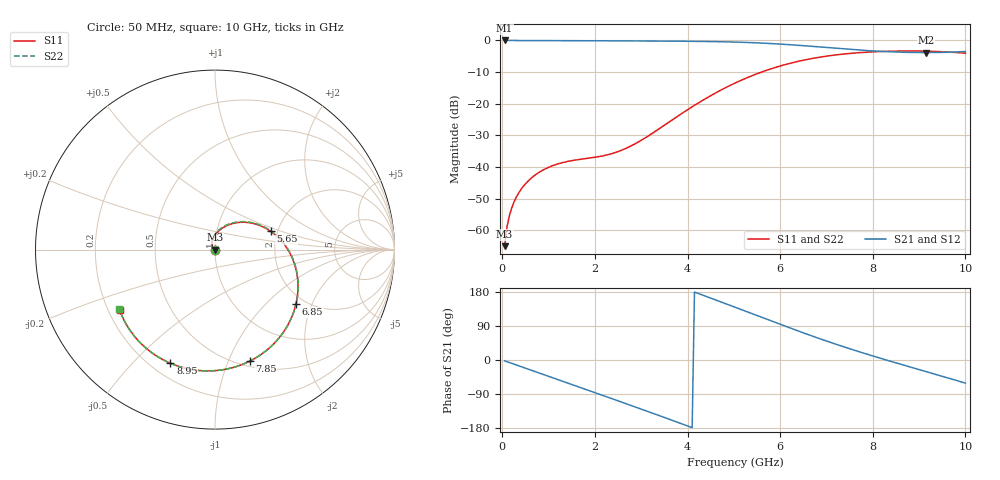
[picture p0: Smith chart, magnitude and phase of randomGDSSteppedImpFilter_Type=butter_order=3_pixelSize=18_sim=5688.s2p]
! freq	dB(S11)	phase(S11)	dB(S12)	phase(S12)
!  dB(S21)	phase(S21)	dB(S22)	phase(S22)
!S-par simulation data
#  GHz  S  DB  R 50
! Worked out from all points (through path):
!   200 points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, 50 MHz to 10 GHz, reference 50 ohm
!   highest |S21| = 0.00 dB at 50 MHz (marker M1); lowest = -3.8 dB at 9.15 GHz (marker M2)
!   group delay of S21, straight-line fit = 120 ps
!   lowest |S11| = -65.1 dB at 50 MHz (marker M3), VSWR 1.00, Z = 50 - j0.0556 ohm
!   |S11| at or under -10 dB: start of sweep to 5.6 GHz
!   |S22| runs from -65.1 to -3.3 dB; largest |S21 - S12| = 0
!   S11 on the Smith chart (normalised r, x): 50 MHz: 1.00, -0.00; 5.65 GHz: 1.83, +0.42; 6.85 GHz: 1.80, -1.54; 7.85 GHz: 0.55, -1.20; 8.95 GHz: 0.27, -0.65; 10 GHz: 0.25, -0.27
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0.05  -65.07 -85.9  -0.00 -2.2  -0.00 -2.2  -65.06 -85.8
0.1  -59.09 -91.3  -0.01 -4.4  -0.01 -4.4  -59.09 -91.1
0.2  -53.11 -97.4  -0.02 -8.7  -0.02 -8.7  -53.10 -96.9
0.5  -45.35 -112.1  -0.03 -21.6  -0.03 -21.6  -45.34 -110.9
1  -40.13 -137.0  -0.05 -43.0  -0.05 -43.0  -40.13 -134.5
1.75  -37.47 -177.0  -0.08 -75.3  -0.08 -75.3  -37.57 -171.7
2.55  -34.88 144.7  -0.13 -110.0  -0.13 -110.0  -35.08 152.2
3.4  -27.81 112.3  -0.19 -147.2  -0.19 -147.2  -27.90 117.4
3.8  -23.85 97.1  -0.23 -165.0  -0.23 -165.0  -23.90 100.8
4.2  -20.07 81.2  -0.29 177.0  -0.29 177.0  -20.10 83.7
4.6  -16.65 64.4  -0.37 158.8  -0.37 158.8  -16.67 66.3
5.05  -13.32 44.9  -0.53 138.1  -0.53 138.1  -13.33 46.2
5.65  -9.74 18.3  -0.86 110.2  -0.86 110.2  -9.74 19.1
6.15  -7.48 -3.9  -1.29 87.3  -1.29 87.3  -7.48 -3.3
6.7  -5.69 -27.5  -1.88 62.9  -1.88 62.9  -5.69 -27.2
6.85  -5.31 -33.8  -2.05 56.4  -2.05 56.4  -5.31 -33.5
7.35  -4.33 -53.9  -2.64 35.8  -2.64 35.8  -4.33 -53.7
7.85  -3.73 -72.8  -3.17 16.3  -3.17 16.3  -3.73 -72.7
8.35  -3.41 -90.7  -3.57 -2.2  -3.57 -2.2  -3.42 -90.7
8.95  -3.35 -111.4  -3.82 -23.5  -3.82 -23.5  -3.35 -111.4
9.15  -3.39 -118.2  -3.83 -30.6  -3.83 -30.6  -3.40 -118.3
10  -4.04 -147.9  -3.50 -61.1  -3.50 -61.1  -4.04 -148.0
